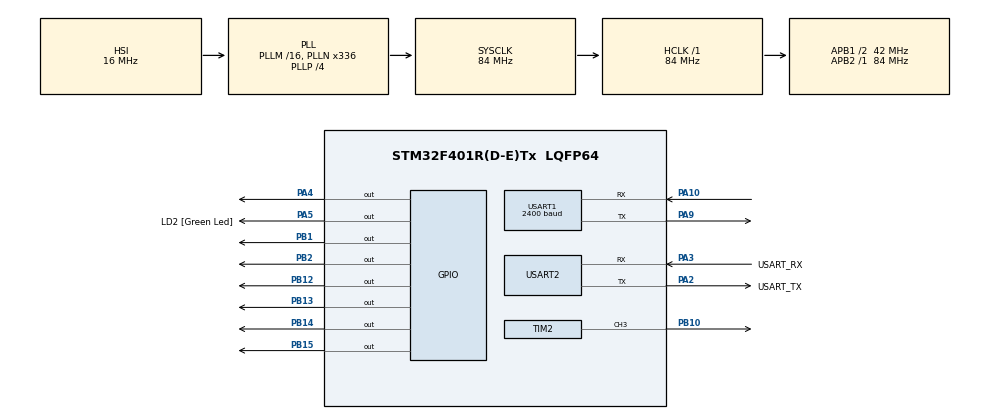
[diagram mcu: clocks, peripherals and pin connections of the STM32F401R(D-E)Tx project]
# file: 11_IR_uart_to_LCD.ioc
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Mcu.Family=STM32F4
Mcu.Name=STM32F401R(D-E)Tx
Mcu.Package=LQFP64
NVIC.PriorityGroup=NVIC_PRIORITYGROUP_0
NVIC.TIM3_IRQn=true\:0\:0\:false\:false\:true\:true\:true\:true
NVIC.USART1_IRQn=true\:0\:0\:false\:false\:true\:true\:true\:true
NVIC.USART2_IRQn=true\:0\:0\:false\:false\:true\:true\:true\:true
PA10.Mode=Asynchronous
PA10.Signal=USART1_RX
PA13.GPIO_Label=TMS
PA13.Mode=Serial_Wire
PA13.Signal=SYS_JTMS-SWDIO
PA14.GPIO_Label=TCK
PA14.Mode=Serial_Wire
PA14.Signal=SYS_JTCK-SWCLK
PA2.GPIO_Label=USART_TX
PA2.GPIO_Mode=GPIO_MODE_AF_PP
PA2.GPIO_PuPd=GPIO_NOPULL
PA2.GPIO_Speed=GPIO_SPEED_FREQ_LOW
PA2.Mode=Asynchronous
PA2.Signal=USART2_TX
PA3.GPIO_Label=USART_RX
PA3.GPIO_Mode=GPIO_MODE_AF_PP
PA3.GPIO_PuPd=GPIO_NOPULL
PA3.GPIO_Speed=GPIO_SPEED_FREQ_LOW
PA3.Mode=Asynchronous
PA3.Signal=USART2_RX
PA4.Signal=GPIO_Output
PA5.GPIO_Label=LD2 [Green Led]
PA5.GPIO_Mode=GPIO_MODE_OUTPUT_PP
PA5.GPIO_PuPd=GPIO_NOPULL
PA5.GPIO_Speed=GPIO_SPEED_FREQ_LOW
PA5.Signal=GPIO_Output
PA9.Mode=Asynchronous
PA9.Signal=USART1_TX
PB1.Signal=GPIO_Output
PB10.Signal=S_TIM2_CH3
PB12.Signal=GPIO_Output
PB13.Signal=GPIO_Output
PB14.Signal=GPIO_Output
PB15.Signal=GPIO_Output
PB2.Signal=GPIO_Output
PB3.GPIO_Label=SWO
PB3.Signal=SYS_JTDO-SWO
PC14-OSC32_IN.Mode=LSE-External-Oscillator
PC14-OSC32_IN.Signal=RCC_OSC32_IN
PC15-OSC32_OUT.Mode=LSE-External-Oscillator
PC15-OSC32_OUT.Signal=RCC_OSC32_OUT
PH0\ -\ OSC_IN.Mode=HSE-External-Clock-Source
PH0\ -\ OSC_IN.Signal=RCC_OSC_IN
PH1\ -\ OSC_OUT.Mode=HSE-External-Clock-Source
PH1\ -\ OSC_OUT.Signal=RCC_OSC_OUT
ProjectManager.HeapSize=0x200
ProjectManager.StackSize=0x400
ProjectManager.TargetToolchain=STM32CubeIDE
RCC.48MHZClocksFreq_Value=48000000
RCC.AHBFreq_Value=84000000
RCC.APB1CLKDivider=RCC_HCLK_DIV2
RCC.APB1Freq_Value=42000000
RCC.APB1TimFreq_Value=84000000
RCC.APB2Freq_Value=84000000
RCC.APB2TimFreq_Value=84000000
RCC.CortexFreq_Value=84000000
RCC.HCLKFreq_Value=84000000
RCC.HSE_VALUE=8000000
RCC.HSI_VALUE=16000000
RCC.PLLN=336
RCC.PLLP=RCC_PLLP_DIV4
RCC.PLLQ=7
RCC.SYSCLKFreq_VALUE=84000000
RCC.SYSCLKSource=RCC_SYSCLKSOURCE_PLLCLK
RCC.VCOOutputFreq_Value=336000000
SH.S_TIM2_CH3.0=TIM2_CH3,PWM Generation3 CH3
TIM2.Channel-PWM\ Generation3\ CH3=TIM_CHANNEL_3
TIM2.OCMode_PWM-PWM\ Generation3\ CH3=TIM_OCMODE_PWM1
TIM2.Period=2210
TIM2.Pulse-PWM\ Generation3\ CH3=1105
TIM3.Period=416-1
TIM3.Prescaler=84-1
USART1.BaudRate=2400
USART1.Mode=MODE_RX
USART1.Parity=PARITY_NONE
USART1.VirtualMode=VM_ASYNC
USART1.WordLength=WORDLENGTH_8B
USART2.VirtualMode=VM_ASYNC
VP_TIM2_VS_ClockSourceINT.Mode=Internal
VP_TIM3_VS_ClockSourceINT.Mode=Internal
board=NUCLEO-F401RE

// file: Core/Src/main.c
/* USER CODE BEGIN Header */
/**
  ******************************************************************************
  * @file           : main.c
  * @brief          : Main program body
  ******************************************************************************
  * @attention
  *
  * Copyright (c) 2024 STMicroelectronics.
  * All rights reserved.
  *
  * This software is licensed under terms that can be found in the LICENSE file
  * in the root directory of this software component.
  * If no LICENSE file comes with this software, it is provided AS-IS.
  *
  ******************************************************************************
  */
/* USER CODE END Header */
#include "main.h"

/* USER CODE BEGIN Includes */
#include "PMDB16_LCD.h"
#include "stdio.h"
/* USER CODE END Includes */

TIM_HandleTypeDef htim2;
TIM_HandleTypeDef htim3;

UART_HandleTypeDef huart1;
UART_HandleTypeDef huart2;

void SystemClock_Config(void);
static void MX_GPIO_Init(void);
static void MX_USART2_UART_Init(void);
static void MX_TIM2_Init(void);
static void MX_USART1_UART_Init(void);
static void MX_TIM3_Init(void);

/* USER CODE BEGIN 0 */

//send one char with matlab through uart 2 tx, send the char with IR led
//receive the char through IR receiver, print it on the lcd

uint8_t rx_char, IR_char;
char string[16], string2[16];
int i = 0, rx_flag = 0;
uint8_t BaudrateFlag = 0;

void UART_IR_sendByte(char byte) {
	HAL_TIM_Base_Start_IT(&htim3);
	//start bit
	HAL_TIM_PWM_Start(&htim2, TIM_CHANNEL_3); 	// output to IR led, 38 kHz
	BaudrateFlag = 0;
	while (BaudrateFlag == 0);
	for (int bit = 0; bit < 8; bit++) {
		HAL_TIM_PWM_Stop(&htim2, TIM_CHANNEL_3);
		if ((byte & (0x01<<bit)) == 0) HAL_TIM_PWM_Start(&htim2, TIM_CHANNEL_3);
		else HAL_TIM_PWM_Stop(&htim2, TIM_CHANNEL_3);
		BaudrateFlag = 0;
		while (BaudrateFlag == 0);
	}
	//stop bit
	HAL_TIM_PWM_Stop(&htim2, TIM_CHANNEL_3);
	BaudrateFlag = 0;
	while (BaudrateFlag == 0);
	HAL_TIM_Base_Stop_IT(&htim3);
	BaudrateFlag = 0;
}

void HAL_TIM_PeriodElapsedCallback(TIM_HandleTypeDef *htim) {
	if (htim == &htim3) BaudrateFlag = 1;
}

void HAL_UART_RxCpltCallback(UART_HandleTypeDef *huart) {
	lcd_clear();
	if (huart == &huart2) {
		HAL_UART_Receive_IT(&huart2, &rx_char, 1);
		snprintf(string2, sizeof(string), "IR send: %c", rx_char);
		lcd_println(string2, 0);
		rx_flag = 1;
	}
	if (huart == &huart1) {
		HAL_UART_Receive_IT(&huart1, &IR_char, 1);
		// second row reset if full to show up to 16 char received one by one
		if (i == 16) {
			i = 0;
			memset(string, 0, sizeof(string));
		}
		string[i] = IR_char;
		lcd_println(string, 1);
		i++;
	}
}

/* USER CODE END 0 */

int main(void)
{

  /* MCU Configuration--------------------------------------------------------*/

  /* Reset of all peripherals, Initializes the Flash interface and the Systick. */
  HAL_Init();

  /* Configure the system clock */
  SystemClock_Config();

  /* Initialize all configured peripherals */
  MX_GPIO_Init();
  MX_USART2_UART_Init();
  MX_TIM2_Init();
  MX_USART1_UART_Init();
  MX_TIM3_Init();
  /* USER CODE BEGIN 2 */
  lcd_initialize();
  //lcd_backlight_ON();
  lcd_println("waiting char", 0);
  lcd_println("from pc", 1);
  HAL_UART_Receive_IT(&huart2, &rx_char, 1);
  HAL_UART_Receive_IT(&huart1, &IR_char, 1);
  /* USER CODE END 2 */

  /* Infinite loop */
  /* USER CODE BEGIN WHILE */
  while (1) {
	  if (rx_flag == 1) {
		  rx_flag = 0;
		  UART_IR_sendByte(rx_char);	//infrared sending routine
	  }
    /* USER CODE END WHILE */

  }
}

void SystemClock_Config(void)
{
  RCC_OscInitTypeDef RCC_OscInitStruct = {0};
  RCC_ClkInitTypeDef RCC_ClkInitStruct = {0};

  /** Configure the main internal regulator output voltage
  */
  __HAL_RCC_PWR_CLK_ENABLE();
  __HAL_PWR_VOLTAGESCALING_CONFIG(PWR_REGULATOR_VOLTAGE_SCALE2);

  /** Initializes the RCC Oscillators according to the specified parameters
  * in the RCC_OscInitTypeDef structure.
  */
  RCC_OscInitStruct.OscillatorType = RCC_OSCILLATORTYPE_HSI;
  RCC_OscInitStruct.HSIState = RCC_HSI_ON;
  RCC_OscInitStruct.HSICalibrationValue = RCC_HSICALIBRATION_DEFAULT;
  RCC_OscInitStruct.PLL.PLLState = RCC_PLL_ON;
  RCC_OscInitStruct.PLL.PLLSource = RCC_PLLSOURCE_HSI;
  RCC_OscInitStruct.PLL.PLLM = 16;
  RCC_OscInitStruct.PLL.PLLN = 336;
  RCC_OscInitStruct.PLL.PLLP = RCC_PLLP_DIV4;
  RCC_OscInitStruct.PLL.PLLQ = 7;
  if (HAL_RCC_OscConfig(&RCC_OscInitStruct) != HAL_OK)
  {
    Error_Handler();
  }

  /** Initializes the CPU, AHB and APB buses clocks
  */
  RCC_ClkInitStruct.ClockType = RCC_CLOCKTYPE_HCLK|RCC_CLOCKTYPE_SYSCLK
                              |RCC_CLOCKTYPE_PCLK1|RCC_CLOCKTYPE_PCLK2;
  RCC_ClkInitStruct.SYSCLKSource = RCC_SYSCLKSOURCE_PLLCLK;
  RCC_ClkInitStruct.AHBCLKDivider = RCC_SYSCLK_DIV1;
  RCC_ClkInitStruct.APB1CLKDivider = RCC_HCLK_DIV2;
  RCC_ClkInitStruct.APB2CLKDivider = RCC_HCLK_DIV1;

  if (HAL_RCC_ClockConfig(&RCC_ClkInitStruct, FLASH_LATENCY_2) != HAL_OK)
  {
    Error_Handler();
  }
}

static void MX_TIM2_Init(void)
{

  TIM_ClockConfigTypeDef sClockSourceConfig = {0};
  TIM_MasterConfigTypeDef sMasterConfig = {0};
  TIM_OC_InitTypeDef sConfigOC = {0};

  htim2.Instance = TIM2;
  htim2.Init.Prescaler = 0;
  htim2.Init.CounterMode = TIM_COUNTERMODE_UP;
  htim2.Init.Period = 2210;
  htim2.Init.ClockDivision = TIM_CLOCKDIVISION_DIV1;
  htim2.Init.AutoReloadPreload = TIM_AUTORELOAD_PRELOAD_DISABLE;
  if (HAL_TIM_Base_Init(&htim2) != HAL_OK)
  {
    Error_Handler();
  }
  sClockSourceConfig.ClockSource = TIM_CLOCKSOURCE_INTERNAL;
  if (HAL_TIM_ConfigClockSource(&htim2, &sClockSourceConfig) != HAL_OK)
  {
    Error_Handler();
  }
  if (HAL_TIM_PWM_Init(&htim2) != HAL_OK)
  {
    Error_Handler();
  }
  sMasterConfig.MasterOutputTrigger = TIM_TRGO_RESET;
  sMasterConfig.MasterSlaveMode = TIM_MASTERSLAVEMODE_DISABLE;
  if (HAL_TIMEx_MasterConfigSynchronization(&htim2, &sMasterConfig) != HAL_OK)
  {
    Error_Handler();
  }
  sConfigOC.OCMode = TIM_OCMODE_PWM1;
  sConfigOC.Pulse = 1105;
  sConfigOC.OCPolarity = TIM_OCPOLARITY_HIGH;
  sConfigOC.OCFastMode = TIM_OCFAST_DISABLE;
  if (HAL_TIM_PWM_ConfigChannel(&htim2, &sConfigOC, TIM_CHANNEL_3) != HAL_OK)
  {
    Error_Handler();
  }
  HAL_TIM_MspPostInit(&htim2);

}

static void MX_TIM3_Init(void)
{

  TIM_ClockConfigTypeDef sClockSourceConfig = {0};
  TIM_MasterConfigTypeDef sMasterConfig = {0};

  htim3.Instance = TIM3;
  htim3.Init.Prescaler = 84-1;
  htim3.Init.CounterMode = TIM_COUNTERMODE_UP;
  htim3.Init.Period = 416-1;
  htim3.Init.ClockDivision = TIM_CLOCKDIVISION_DIV1;
  htim3.Init.AutoReloadPreload = TIM_AUTORELOAD_PRELOAD_DISABLE;
  if (HAL_TIM_Base_Init(&htim3) != HAL_OK)
  {
    Error_Handler();
  }
  sClockSourceConfig.ClockSource = TIM_CLOCKSOURCE_INTERNAL;
  if (HAL_TIM_ConfigClockSource(&htim3, &sClockSourceConfig) != HAL_OK)
  {
    Error_Handler();
  }
  sMasterConfig.MasterOutputTrigger = TIM_TRGO_RESET;
  sMasterConfig.MasterSlaveMode = TIM_MASTERSLAVEMODE_DISABLE;
  if (HAL_TIMEx_MasterConfigSynchronization(&htim3, &sMasterConfig) != HAL_OK)
  {
    Error_Handler();
  }

}

static void MX_USART1_UART_Init(void)
{

  huart1.Instance = USART1;
  huart1.Init.BaudRate = 2400;
  huart1.Init.WordLength = UART_WORDLENGTH_8B;
  huart1.Init.StopBits = UART_STOPBITS_1;
  huart1.Init.Parity = UART_PARITY_NONE;
  huart1.Init.Mode = UART_MODE_RX;
  huart1.Init.HwFlowCtl = UART_HWCONTROL_NONE;
  huart1.Init.OverSampling = UART_OVERSAMPLING_16;
  if (HAL_UART_Init(&huart1) != HAL_OK)
  {
    Error_Handler();
  }

}

static void MX_USART2_UART_Init(void)
{

  huart2.Instance = USART2;
  huart2.Init.BaudRate = 115200;
  huart2.Init.WordLength = UART_WORDLENGTH_8B;
  huart2.Init.StopBits = UART_STOPBITS_1;
  huart2.Init.Parity = UART_PARITY_NONE;
  huart2.Init.Mode = UART_MODE_TX_RX;
  huart2.Init.HwFlowCtl = UART_HWCONTROL_NONE;
  huart2.Init.OverSampling = UART_OVERSAMPLING_16;
  if (HAL_UART_Init(&huart2) != HAL_OK)
  {
    Error_Handler();
  }

}

static void MX_GPIO_Init(void)
{
  GPIO_InitTypeDef GPIO_InitStruct = {0};

  /* GPIO Ports Clock Enable */
  __HAL_RCC_GPIOC_CLK_ENABLE();
  __HAL_RCC_GPIOH_CLK_ENABLE();
  __HAL_RCC_GPIOA_CLK_ENABLE();
  __HAL_RCC_GPIOB_CLK_ENABLE();

  /*Configure GPIO pin Output Level */
  HAL_GPIO_WritePin(GPIOA, GPIO_PIN_4|LD2_Pin, GPIO_PIN_RESET);

  /*Configure GPIO pin Output Level */
  HAL_GPIO_WritePin(GPIOB, GPIO_PIN_1|GPIO_PIN_2|GPIO_PIN_12|GPIO_PIN_13
                          |GPIO_PIN_14|GPIO_PIN_15, GPIO_PIN_RESET);

  /*Configure GPIO pins : PA4 LD2_Pin */
  GPIO_InitStruct.Pin = GPIO_PIN_4|LD2_Pin;
  GPIO_InitStruct.Mode = GPIO_MODE_OUTPUT_PP;
  GPIO_InitStruct.Pull = GPIO_NOPULL;
  GPIO_InitStruct.Speed = GPIO_SPEED_FREQ_LOW;
  HAL_GPIO_Init(GPIOA, &GPIO_InitStruct);

  /*Configure GPIO pins : PB1 PB2 PB12 PB13
                           PB14 PB15 */
  GPIO_InitStruct.Pin = GPIO_PIN_1|GPIO_PIN_2|GPIO_PIN_12|GPIO_PIN_13
                          |GPIO_PIN_14|GPIO_PIN_15;
  GPIO_InitStruct.Mode = GPIO_MODE_OUTPUT_PP;
  GPIO_InitStruct.Pull = GPIO_NOPULL;
  GPIO_InitStruct.Speed = GPIO_SPEED_FREQ_LOW;
  HAL_GPIO_Init(GPIOB, &GPIO_InitStruct);

}

void Error_Handler(void)
{
  __disable_irq();
  while (1)
  {
  }
}
